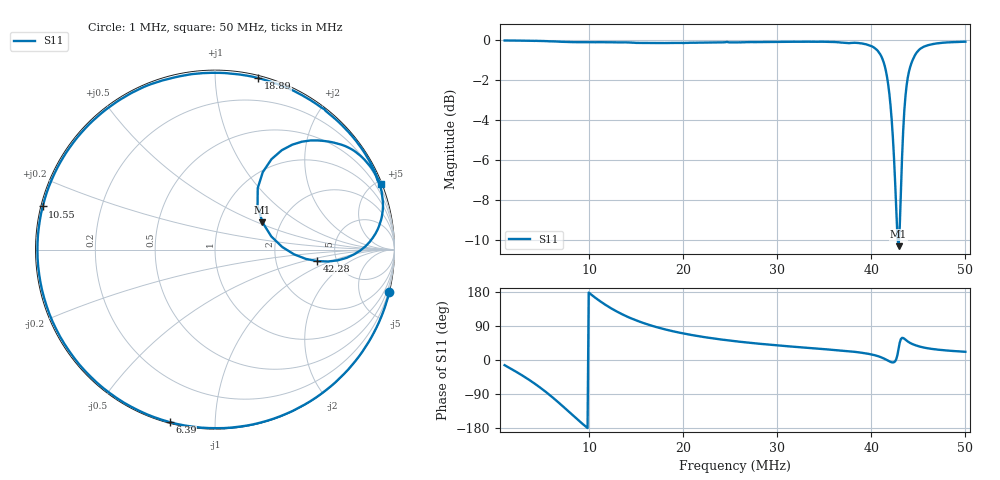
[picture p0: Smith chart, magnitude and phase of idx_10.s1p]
# HZ S RI R 50
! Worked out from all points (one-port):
!   401 points, 1 MHz to 50 MHz, reference 50 ohm
!   lowest |S11| = -10.3 dB at 42.9 MHz (marker M1), VSWR 1.88, Z = 80.4 + j26.9 ohm
!   |S11| at or under -10 dB: 42.81376 MHz to 42.93514 MHz (121.4 kHz wide, 0.283 % of centre)
!   S11 on the Smith chart (normalised r, x): 1 MHz: 0.02, -8.36; 6.39 MHz: 0.00, -0.77; 10.55 MHz: 0.01, +0.12; 18.89 MHz: 0.02, +1.28; 42.28 MHz: 3.56, -0.68; 50 MHz: 0.11, +5.23
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1000000  0.9712 -0.2358
2347500  0.8396 -0.5408
3572500  0.6169 -0.7844
5042500  0.2125 -0.9737
6390000  -0.253 -0.9611
7125000  -0.5058 -0.8536
8840000  -0.923 -0.3576
9697500  -0.9884 -0.0497
1.0555e7  -0.9599 0.2406
1.19025e7  -0.788 0.5982
1.325e7  -0.5505 0.8213
1.55775e7  -0.158 0.9727
1.8885e7  0.2393 0.956
1.9375e7  0.2836 0.9441
2.55e7  0.6412 0.7527
3.1625e7  0.8107 0.5724
3.775e7  0.9078 0.3823
3.95875e7  0.9341 0.2804
4.0935e7  0.9142 0.1314
4.167e7  0.8094 -0.0053
4.22825e7  0.5708 -0.0643
4.265e7  0.3748 0.0143
4.2895e7  0.2645 0.1518
4.3385e7  0.3148 0.5039
4.3875e7  0.5316 0.608
4.461e7  0.7043 0.5846
4.57125e7  0.8188 0.5144
5e7  0.9226 0.3663
